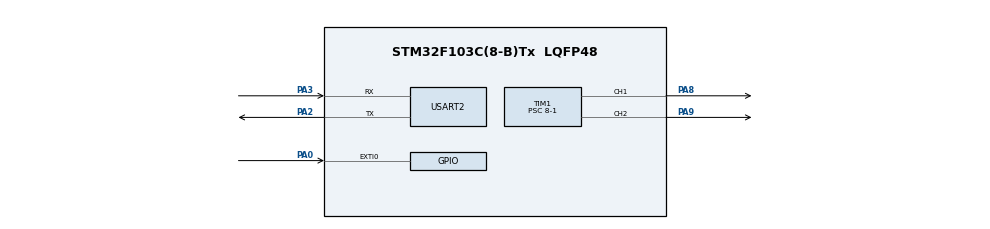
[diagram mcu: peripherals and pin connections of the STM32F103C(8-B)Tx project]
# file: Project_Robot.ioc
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Dma.Request0=TIM1_CH1
Dma.TIM1_CH1.0.Direction=DMA_MEMORY_TO_PERIPH
Dma.TIM1_CH1.0.Instance=DMA1_Channel2
Dma.TIM1_CH1.0.MemDataAlignment=DMA_MDATAALIGN_HALFWORD
Dma.TIM1_CH1.0.MemInc=DMA_MINC_ENABLE
Dma.TIM1_CH1.0.Mode=DMA_NORMAL
Dma.TIM1_CH1.0.PeriphDataAlignment=DMA_PDATAALIGN_HALFWORD
Dma.TIM1_CH1.0.PeriphInc=DMA_PINC_DISABLE
Dma.TIM1_CH1.0.Priority=DMA_PRIORITY_LOW
Mcu.Family=STM32F1
Mcu.Name=STM32F103C(8-B)Tx
Mcu.Package=LQFP48
NVIC.DMA1_Channel2_IRQn=true\:0\:0\:false\:false\:true\:false\:true\:true
NVIC.EXTI0_IRQn=true\:1\:0\:true\:false\:true\:true\:true\:true
NVIC.PriorityGroup=NVIC_PRIORITYGROUP_4
NVIC.USART2_IRQn=true\:0\:0\:true\:false\:true\:true\:true\:true
PA0-WKUP.GPIO_ModeDefaultEXTI=GPIO_MODE_IT_FALLING
PA0-WKUP.GPIO_PuPd=GPIO_PULLUP
PA0-WKUP.Signal=GPXTI0
PA13.Mode=Serial_Wire
PA13.Signal=SYS_JTMS-SWDIO
PA14.Mode=Serial_Wire
PA14.Signal=SYS_JTCK-SWCLK
PA2.Mode=Asynchronous
PA2.Signal=USART2_TX
PA3.Mode=Asynchronous
PA3.Signal=USART2_RX
PA8.Signal=S_TIM1_CH1
PA9.Signal=S_TIM1_CH2
ProjectManager.HeapSize=0x200
ProjectManager.StackSize=0x400
ProjectManager.TargetToolchain=MDK-ARM V5.32
RCC.APB1Freq_Value=8000000
RCC.APB2Freq_Value=8000000
SH.S_TIM1_CH1.0=TIM1_CH1,PWM Generation1 CH1
SH.S_TIM1_CH2.0=TIM1_CH2,PWM Generation2 CH2
TIM1.Channel-PWM\ Generation1\ CH1=TIM_CHANNEL_1
TIM1.Channel-PWM\ Generation2\ CH2=TIM_CHANNEL_2
TIM1.Period=20000-1
TIM1.Prescaler=8-1
USART2.VirtualMode=VM_ASYNC
VP_TIM1_VS_ClockSourceINT.Mode=Internal
board=custom

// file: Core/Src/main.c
/* USER CODE BEGIN Header */
/**
  ******************************************************************************
  * @file           : main.c
  * @brief          : Main program body
  ******************************************************************************
  * @attention
  *
  * Copyright (c) 2024 STMicroelectronics.
  * All rights reserved.
  *
  * This software is licensed under terms that can be found in the LICENSE file
  * in the root directory of this software component.
  * If no LICENSE file comes with this software, it is provided AS-IS.
  *
  ******************************************************************************
  */
/* USER CODE END Header */
#include "main.h"

/* USER CODE BEGIN Includes */
#include <stdio.h>
#include <math.h>
#include "servo.h"
/* USER CODE END Includes */

/* USER CODE BEGIN PD */

#define PI            3.1415926545
#define chieuDaiLink1 10
#define chieuDaiLink2 18

/* USER CODE END PD */

/* USER CODE BEGIN PM */
typedef enum{doc_du_lieu, tinh_dong_hoc_thuan, tinh_dong_hoc_nghich, run} state_machine;
/* USER CODE END PM */

TIM_HandleTypeDef htim1;
DMA_HandleTypeDef hdma_tim1_ch1;

UART_HandleTypeDef huart2;

void SystemClock_Config(void);
static void MX_GPIO_Init(void);
static void MX_DMA_Init(void);
static void MX_TIM1_Init(void);
static void MX_USART2_UART_Init(void);
/* USER CODE BEGIN PFP */
void dongHocThuan(float TT1, float TT2);
void dongHocNghich(float xP, float yP);
int checkTheTa1(float TT1, float TT2, float xP_true, float yP_true);
void Run(float TT1, float TT2);
void run_home(void);
void guiDuLieu_ketThuc(void);
void guiDuLieu_T(void);
void guiDuLieu_N(void);
void guiDuLieu_ERROR(void);
void xuLyDuLieu(void);
/* USER CODE END PFP */

/* USER CODE BEGIN 0 */
float	gocQuay1 = 0.0, gocQuay2 = 0.0;
const float saiSo = 0.1;
float goc1HienTai = 0.0, goc2HienTai = 0.0;
int end = 0;
int runHome = 0;

char thuanOrNgich = 'A';

float toaDoX = 0.0, toaDoY = 0.0;
float theTa1 = 0.0, theTa2 = 0.0;
float theTa1N = 0.0, theTa2N = 0.0;
int error = 0;

uint8_t dataRX[14];

static state_machine currentState = doc_du_lieu;

/* USER CODE END 0 */

int main(void)
{

  /* MCU Configuration--------------------------------------------------------*/

  /* Reset of all peripherals, Initializes the Flash interface and the Systick. */
  HAL_Init();

  /* Configure the system clock */
  SystemClock_Config();

  /* Initialize all configured peripherals */
  MX_GPIO_Init();
  MX_DMA_Init();
  MX_TIM1_Init();
  MX_USART2_UART_Init();
  /* USER CODE BEGIN 2 */

	HAL_TIM_PWM_Start(&htim1, TIM_CHANNEL_1);
	HAL_TIM_PWM_Start(&htim1, TIM_CHANNEL_2);

	run_home();
  /* USER CODE END 2 */

  /* Infinite loop */
  /* USER CODE BEGIN WHILE */
  while (1)
  {
		switch(currentState)
		{
			case doc_du_lieu:
			{
				HAL_UART_Receive(&huart2, dataRX, sizeof(dataRX), 20);
				if (dataRX[0] != 0)
				{
					xuLyDuLieu();
				}
				break;
			}

			case tinh_dong_hoc_thuan:
			{
				dongHocThuan(theTa1, theTa2);
				if (error == 1)
				{
					error = 0;
					guiDuLieu_ERROR();
					currentState = doc_du_lieu;
					break;
				}
				guiDuLieu_T();
				currentState = run;
				break;
			}

			case tinh_dong_hoc_nghich:
			{
				dongHocNghich(toaDoX, toaDoY);
				if (error == 1)
				{
					error = 0;
					guiDuLieu_ERROR();
					currentState = doc_du_lieu;
					break;
				}
				guiDuLieu_N();
				currentState = run;
				break;
			}

			case run:
			{
				if (runHome == 1)
				{
					Run(0.0, 0.0);
					if (end == 1)
					{
						runHome = 0;
						end = 0;
						currentState = doc_du_lieu;
					}
					break;
				}

				Run(theTa1, theTa2);
				if (end == 1)
				{
					end = 0;
					HAL_Delay(30);
					guiDuLieu_ketThuc();
					currentState = doc_du_lieu;
				}
				break;
			}
		}

    /* USER CODE END WHILE */

  }
}

void SystemClock_Config(void)
{
  RCC_OscInitTypeDef RCC_OscInitStruct = {0};
  RCC_ClkInitTypeDef RCC_ClkInitStruct = {0};

  /** Initializes the RCC Oscillators according to the specified parameters
  * in the RCC_OscInitTypeDef structure.
  */
  RCC_OscInitStruct.OscillatorType = RCC_OSCILLATORTYPE_HSI;
  RCC_OscInitStruct.HSIState = RCC_HSI_ON;
  RCC_OscInitStruct.HSICalibrationValue = RCC_HSICALIBRATION_DEFAULT;
  RCC_OscInitStruct.PLL.PLLState = RCC_PLL_NONE;
  if (HAL_RCC_OscConfig(&RCC_OscInitStruct) != HAL_OK)
  {
    Error_Handler();
  }

  /** Initializes the CPU, AHB and APB buses clocks
  */
  RCC_ClkInitStruct.ClockType = RCC_CLOCKTYPE_HCLK|RCC_CLOCKTYPE_SYSCLK
                              |RCC_CLOCKTYPE_PCLK1|RCC_CLOCKTYPE_PCLK2;
  RCC_ClkInitStruct.SYSCLKSource = RCC_SYSCLKSOURCE_HSI;
  RCC_ClkInitStruct.AHBCLKDivider = RCC_SYSCLK_DIV1;
  RCC_ClkInitStruct.APB1CLKDivider = RCC_HCLK_DIV1;
  RCC_ClkInitStruct.APB2CLKDivider = RCC_HCLK_DIV1;

  if (HAL_RCC_ClockConfig(&RCC_ClkInitStruct, FLASH_LATENCY_0) != HAL_OK)
  {
    Error_Handler();
  }
}

static void MX_TIM1_Init(void)
{

  TIM_ClockConfigTypeDef sClockSourceConfig = {0};
  TIM_MasterConfigTypeDef sMasterConfig = {0};
  TIM_OC_InitTypeDef sConfigOC = {0};
  TIM_BreakDeadTimeConfigTypeDef sBreakDeadTimeConfig = {0};

  htim1.Instance = TIM1;
  htim1.Init.Prescaler = 8-1;
  htim1.Init.CounterMode = TIM_COUNTERMODE_UP;
  htim1.Init.Period = 20000-1;
  htim1.Init.ClockDivision = TIM_CLOCKDIVISION_DIV1;
  htim1.Init.RepetitionCounter = 0;
  htim1.Init.AutoReloadPreload = TIM_AUTORELOAD_PRELOAD_DISABLE;
  if (HAL_TIM_Base_Init(&htim1) != HAL_OK)
  {
    Error_Handler();
  }
  sClockSourceConfig.ClockSource = TIM_CLOCKSOURCE_INTERNAL;
  if (HAL_TIM_ConfigClockSource(&htim1, &sClockSourceConfig) != HAL_OK)
  {
    Error_Handler();
  }
  if (HAL_TIM_PWM_Init(&htim1) != HAL_OK)
  {
    Error_Handler();
  }
  sMasterConfig.MasterOutputTrigger = TIM_TRGO_RESET;
  sMasterConfig.MasterSlaveMode = TIM_MASTERSLAVEMODE_DISABLE;
  if (HAL_TIMEx_MasterConfigSynchronization(&htim1, &sMasterConfig) != HAL_OK)
  {
    Error_Handler();
  }
  sConfigOC.OCMode = TIM_OCMODE_PWM1;
  sConfigOC.Pulse = 0;
  sConfigOC.OCPolarity = TIM_OCPOLARITY_HIGH;
  sConfigOC.OCNPolarity = TIM_OCNPOLARITY_HIGH;
  sConfigOC.OCFastMode = TIM_OCFAST_DISABLE;
  sConfigOC.OCIdleState = TIM_OCIDLESTATE_RESET;
  sConfigOC.OCNIdleState = TIM_OCNIDLESTATE_RESET;
  if (HAL_TIM_PWM_ConfigChannel(&htim1, &sConfigOC, TIM_CHANNEL_1) != HAL_OK)
  {
    Error_Handler();
  }
  if (HAL_TIM_PWM_ConfigChannel(&htim1, &sConfigOC, TIM_CHANNEL_2) != HAL_OK)
  {
    Error_Handler();
  }
  sBreakDeadTimeConfig.OffStateRunMode = TIM_OSSR_DISABLE;
  sBreakDeadTimeConfig.OffStateIDLEMode = TIM_OSSI_DISABLE;
  sBreakDeadTimeConfig.LockLevel = TIM_LOCKLEVEL_OFF;
  sBreakDeadTimeConfig.DeadTime = 0;
  sBreakDeadTimeConfig.BreakState = TIM_BREAK_DISABLE;
  sBreakDeadTimeConfig.BreakPolarity = TIM_BREAKPOLARITY_HIGH;
  sBreakDeadTimeConfig.AutomaticOutput = TIM_AUTOMATICOUTPUT_DISABLE;
  if (HAL_TIMEx_ConfigBreakDeadTime(&htim1, &sBreakDeadTimeConfig) != HAL_OK)
  {
    Error_Handler();
  }
  HAL_TIM_MspPostInit(&htim1);

}

static void MX_USART2_UART_Init(void)
{

  huart2.Instance = USART2;
  huart2.Init.BaudRate = 115200;
  huart2.Init.WordLength = UART_WORDLENGTH_8B;
  huart2.Init.StopBits = UART_STOPBITS_1;
  huart2.Init.Parity = UART_PARITY_NONE;
  huart2.Init.Mode = UART_MODE_TX_RX;
  huart2.Init.HwFlowCtl = UART_HWCONTROL_NONE;
  huart2.Init.OverSampling = UART_OVERSAMPLING_16;
  if (HAL_UART_Init(&huart2) != HAL_OK)
  {
    Error_Handler();
  }

}

static void MX_DMA_Init(void)
{

  /* DMA controller clock enable */
  __HAL_RCC_DMA1_CLK_ENABLE();

  /* DMA interrupt init */
  /* DMA1_Channel2_IRQn interrupt configuration */
  HAL_NVIC_SetPriority(DMA1_Channel2_IRQn, 0, 0);
  HAL_NVIC_EnableIRQ(DMA1_Channel2_IRQn);

}

static void MX_GPIO_Init(void)
{
  GPIO_InitTypeDef GPIO_InitStruct = {0};

  /* GPIO Ports Clock Enable */
  __HAL_RCC_GPIOA_CLK_ENABLE();

  /*Configure GPIO pin : PA0 */
  GPIO_InitStruct.Pin = GPIO_PIN_0;
  GPIO_InitStruct.Mode = GPIO_MODE_IT_FALLING;
  GPIO_InitStruct.Pull = GPIO_PULLUP;
  HAL_GPIO_Init(GPIOA, &GPIO_InitStruct);

  /* EXTI interrupt init*/
  HAL_NVIC_SetPriority(EXTI0_IRQn, 1, 0);
  HAL_NVIC_EnableIRQ(EXTI0_IRQn);

}

/* USER CODE BEGIN 4 */

//====================================================================
//DONG HOC
//====================================================================
void dongHocThuan(float TT1, float TT2)
{
	if (TT1 < 30.0 || TT1 > 150.0 || TT2 < 30.0 || TT2 > 150.0)
	{
		error = 1;
		return;
	}

	float theTa1F = TT1 * PI / 180.0;
	float theTa2F = TT2 * PI / 180.0;

	toaDoX = chieuDaiLink1 * cos(theTa1F) + chieuDaiLink2 * cos(theTa1F + theTa2F);
	toaDoY = chieuDaiLink1 * sin(theTa1F) + chieuDaiLink2 * sin(theTa1F + theTa2F);
}

//====================================================================
void dongHocNghich(float xP, float yP)
{
	float q1_1, q1_2;
	float q2_1, q2_2;
	float maxReach = chieuDaiLink1 + chieuDaiLink2;

	/*CHECK WORKBASE*/
	if (sqrt(chieuDaiLink1 * chieuDaiLink1 + chieuDaiLink2 * chieuDaiLink2) > maxReach)
	{
		error = 1;
		return;
	}

	q2_1 = acos((pow(xP, 2) + pow(yP, 2) - pow(chieuDaiLink1, 2) - pow(chieuDaiLink2, 2)) / (2 * chieuDaiLink1 * chieuDaiLink2));
	q2_2 = -q2_1;

	q1_1 = atan(yP / xP) - atan((chieuDaiLink2 * sin(q2_1)) / (chieuDaiLink1 + chieuDaiLink2 * cos(q2_1)));
	q1_2 = atan(yP / xP) + atan((chieuDaiLink2 * sin(q2_1)) / (chieuDaiLink1 + chieuDaiLink2 * cos(q2_1)));

	q1_1 = q1_1 * (180.0 / PI);
	q1_2 = q1_2 * (180.0 / PI);
	q2_1 = q2_1 * (180.0 / PI);
	q2_2 = q2_2 * (180.0 / PI);

	/*CHECK NGHIEM*/
	if (checkTheTa1(q1_1, q2_1, xP, yP) == 1)
	{
		if (q1_1 >= 30.0 && q1_1 <= 150.0 && q2_1 >= 30.0 && q2_1 <= 150.0)
		{
			theTa1 = (round(q1_1 * 10))/10;
			theTa1N = (round(q1_2 * 10))/10;
			theTa2 = (round(q2_1 * 10))/10;
			theTa2N = (round(q2_2 * 10))/10;
			return;
		}

		if (q1_2 >= 30.0 && q1_2 <= 150.0 && q2_2 >= 30.0 && q2_2 <= 150.0)
		{
			theTa1 = (round(q1_2 * 10))/10;
			theTa1N = (round(q1_1 * 10))/10;
			theTa2 = (round(q2_2 * 10))/10;
			theTa2N = (round(q2_1 * 10))/10;
			return;
		}
	}
	else
	{
		//TIM NGHIEM MOI NEU NGHIEM DAU TIEN KHONG DUNG
		/*Q1_1*/
		if (q1_1 < 0.0)
		{
			q1_1 = q1_1 + 180.0;
		}
		else if (q1_1 > 0.0)
		{
			q1_1 = q1_1 - 180.0;
		}
		else if (q1_1 == 180.0 || q1_1 == -180.0 || q1_1 == 0)
		{
			q1_1 = 0;
		}

		/*Q1_2*/
		if (q1_2 < 0.0)
		{
			q1_2 = q1_2 + 180.0;
		}
		else if (q1_2 > 0.0)
		{
			q1_2 = q1_2 - 180.0;
		}
		else if (q1_2 == 180.0 || q1_2 == -180.0 || q1_2 == 0)
		{
			q1_2 = 0;
		}

		if (q1_1 >= 30.0 && q1_1 <= 150.0 && q2_1 >= 30.0 && q2_1 <= 150.0)
		{
			theTa1 = (round(q1_1 * 10))/10;
			theTa1N = (round(q1_2 * 10))/10;
			theTa2 = (round(q2_1 * 10))/10;
			theTa2N = (round(q2_2 * 10))/10;
			return;
		}
	}
	error = 1;
}

//====================================================================
int checkTheTa1(float TT1, float TT2, float xP_true, float yP_true)
{
	float TT1F = TT1 * PI / 180.0;
	float TT2F = TT2 * PI / 180.0;

	float xP = chieuDaiLink1 * cos(TT1F) + chieuDaiLink2 * cos(TT1F + TT2F);
	float yP = chieuDaiLink1 * sin(TT1F) + chieuDaiLink2 * sin(TT1F + TT2F);

	if (xP < xP_true + saiSo && xP > xP_true - saiSo && yP < yP_true + saiSo && yP > yP_true - saiSo)
	{
		return 1;
	}
	else
	{
		return 0;
	}
}

//====================================================================
//RUN
//====================================================================
void Run(float TT1, float TT2)
{
	/*SERVO 1*/
	gocQuay1 = TT1 - goc1HienTai;
	if (gocQuay1 > 0)
	{
		goc1HienTai += 0.1;
		if (goc1HienTai < TT1)
		{
			htim1.Instance->CCR1 = servo1Write(goc1HienTai);
		}
	}
	if (gocQuay1 < 0)
	{
		goc1HienTai -= 0.1;
		if (goc1HienTai > TT1)
		{
			htim1.Instance->CCR1 = servo1Write(goc1HienTai-2.0); //Khu ro dong co
		}
	}

	/*SERVO 2*/
	gocQuay2 = TT2 - goc2HienTai;
	if (gocQuay2 > 0)
	{
		goc2HienTai += 0.1;
		if (goc2HienTai < TT2)
		{
			htim1.Instance->CCR2 = servo2Write(goc2HienTai);
		}
	}
	if (gocQuay2 < 0)
	{
		goc2HienTai -= 0.1;
		if (goc2HienTai > TT2)
		{
			htim1.Instance->CCR2 = servo2Write(goc2HienTai-2.0); //Khu ro dong co
		}
	}

	HAL_Delay(1);

	/*KET THUC*/
	if (fabs(goc1HienTai - TT1) < saiSo && fabs(goc2HienTai - TT2) < saiSo)
	{
		end = 1;
	}
}

//====================================================================
void run_home(void)
{
	htim1.Instance->CCR1 = servo1Write(0);
	htim1.Instance->CCR2 = servo2Write(0);
}

//====================================================================
//TRUYEN THONG UART
//====================================================================
void guiDuLieu_ketThuc(void)
{
	uint8_t data[6] = "*END#";
	HAL_UART_Transmit(&huart2, data, sizeof(data), 10000);
}

//====================================================================
void guiDuLieu_T(void)
{
	uint8_t data[13];
	sprintf((char*)data, "%.2f:%.2f#", toaDoX, toaDoY);
	HAL_UART_Transmit(&huart2, data, sizeof(data), 10000);
}

//====================================================================
void guiDuLieu_N(void)
{
	uint8_t data[30];
	sprintf((char*)data, "%.2f:%.2f:%.2f:%.2f#", theTa1, theTa2, theTa1N, theTa2N);
	HAL_UART_Transmit(&huart2, data, sizeof(data), 10000);
}

//====================================================================
void guiDuLieu_ERROR(void)
{
	uint8_t data[10] = "*ERROR#";
	HAL_UART_Transmit(&huart2, data, sizeof(data), 10000);
}

//====================================================================
void xuLyDuLieu(void)
{
	float x, y;

	sscanf((char *)dataRX, "%c:%f:%f", &thuanOrNgich, &x, &y);
	if (thuanOrNgich == 'T')
	{
		theTa1 = x;
		theTa2 = y;
	}
	else if (thuanOrNgich == 'N')
	{
		toaDoX = x;
		toaDoY = y;
	}

	if (thuanOrNgich == 'T')
	{
		currentState = tinh_dong_hoc_thuan;
	}
	else if (thuanOrNgich == 'N')
	{
		currentState = tinh_dong_hoc_nghich;
	}

	HAL_Delay(10);

	for (int i = 0; i <= sizeof(dataRX); i++)
	{
		dataRX[i] = 0;
	}
}

//====================================================================
//TRANG THAI HOME
//====================================================================
void HAL_GPIO_EXTI_Callback(uint16_t GPIO_Pin)
{
	if (GPIO_Pin == GPIO_PIN_0)
	{
		currentState = run;
		runHome = 1;
	}
}
/* USER CODE END 4 */

void Error_Handler(void)
{
  __disable_irq();
  while (1)
  {
  }
}
